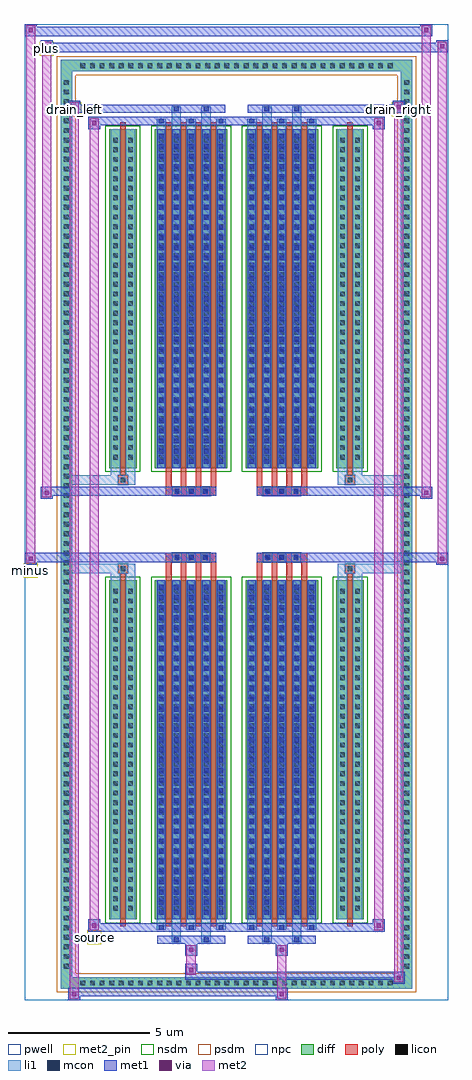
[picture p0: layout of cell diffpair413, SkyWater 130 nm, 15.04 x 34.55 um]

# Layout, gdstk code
import gdstk
lib = gdstk.Library(unit=1e-6, precision=5e-09)
def R(c, l, rs):  # rectangles x0, y0, x1, y1
    for r in rs: c.add(gdstk.rectangle(r[:2], r[2:], *l))
def A(c, l, x, y, w, h, nx, ny, dx, dy):  # array of equal rectangles
    R(c, l, [(x+i*dx, y+j*dy, x+i*dx+w, y+j*dy+h) for i in range(nx) for j in range(ny)])
def P(c, l, *ps):  # polygons
    for p in ps: c.add(gdstk.Polygon(p, *l))
pwell = (64, 44)
diff = (65, 20)
poly = (66, 20)
licon = (66, 44)
li1 = (67, 20)
mcon = (67, 44)
met1 = (68, 20)
via = (68, 44)
met2_pin = (69, 16)
met2 = (69, 20)
nsdm = (93, 44)
psdm = (94, 20)
npc = (95, 20)

diffpair413 = lib.new_cell('diffpair413')
R(diffpair413, pwell, [(-7.5,-16.84,7.5,17.71), (-4.82,-15.03,-0.01,-0.805), (0.01,-15.03,4.82,-0.805), (-4.82,0.805,-0.01,15.03), (0.01,0.805,4.82,15.03)])
A(diffpair413, diff, -5.645, -16.44, 0.41, 0.41, 33, 2, 0.34, 32.47)
A(diffpair413, diff, -6.23, -15.845, 0.41, 0.41, 1, 93, 0, 0.34)
A(diffpair413, diff, 5.82, -15.845, 0.41, 0.41, 1, 93, 0, 0.34)
R(diffpair413, diff, [(-5.645,-16.44,5.645,-16.03), (-6.23,-15.845,-5.82,15.845), (5.82,-15.845,6.23,15.845), (-4.51,-13.985,-3.53,-1.985), (-2.89,-13.985,-0.32,-1.985), (0.32,-13.985,2.89,-1.985), (3.53,-13.985,4.51,-1.985), (-4.51,1.985,-3.53,13.985), (-2.89,1.985,-0.32,13.985), (0.32,1.985,2.89,13.985), (3.53,1.985,4.51,13.985), (-5.645,16.03,5.645,16.44)])
P(diffpair413, diff, [(6.23,16.44),(-6.23,16.44),(-6.23,-16.03),(-5.82,-16.03),(-5.82,16.03),(5.82,16.03),(5.82,-16.03),(-5.82,-16.03),(-6.23,-16.03),(-6.23,-16.44),(6.23,-16.44)])
A(diffpair413, poly, -2.5, -14.235, 0.2, 12.5, 4, 2, 0.53, 15.97)
A(diffpair413, poly, 0.71, -14.235, 0.2, 12.5, 4, 2, 0.53, 15.97)
A(diffpair413, poly, -2.5, -1.735, 0.2, 0.4, 4, 2, 0.53, 3.07)
A(diffpair413, poly, 0.71, -1.735, 0.2, 0.4, 4, 2, 0.53, 3.07)
A(diffpair413, poly, -2.27, -1.335, 0.33, 0.33, 3, 2, 0.5, 2.34)
A(diffpair413, poly, 0.94, -1.335, 0.33, 0.33, 3, 2, 0.5, 2.34)
R(diffpair413, poly, [(-4.12,-14.235,-3.92,-1.735), (3.92,-14.235,4.12,-1.735), (-4.185,-1.735,-3.855,-1.405), (-4.185,-1.735,-3.855,-1.405), (3.855,-1.735,4.185,-1.405), (3.855,-1.735,4.185,-1.405), (-2.5,-1.335,-0.71,-1.005), (0.71,-1.335,2.5,-1.005), (-2.5,1.005,-0.71,1.335), (0.71,1.005,2.5,1.335), (-4.185,1.405,-3.855,1.735), (-4.185,1.405,-3.855,1.735), (3.855,1.405,4.185,1.735), (3.855,1.405,4.185,1.735), (-4.12,1.735,-3.92,14.235), (3.92,1.735,4.12,14.235)])
A(diffpair413, licon, -5.525, -16.32, 0.17, 0.17, 33, 2, 0.34, 32.47)
A(diffpair413, licon, -6.11, -15.725, 0.17, 0.17, 1, 93, 0, 0.34)
A(diffpair413, licon, 5.94, -15.725, 0.17, 0.17, 1, 93, 0, 0.34)
A(diffpair413, licon, -4.37, -13.68, 0.17, 0.17, 1, 34, 0, 0.34)
A(diffpair413, licon, -3.84, -13.68, 0.17, 0.17, 1, 34, 0, 0.34)
A(diffpair413, licon, -2.75, -13.68, 0.17, 0.17, 5, 34, 0.53, 0.34)
A(diffpair413, licon, 0.46, -13.68, 0.17, 0.17, 5, 34, 0.53, 0.34)
A(diffpair413, licon, 3.67, -13.68, 0.17, 0.17, 1, 34, 0, 0.34)
A(diffpair413, licon, 4.2, -13.68, 0.17, 0.17, 1, 34, 0, 0.34)
A(diffpair413, licon, -2.19, -1.255, 0.17, 0.17, 3, 2, 0.5, 2.34)
A(diffpair413, licon, 1.02, -1.255, 0.17, 0.17, 3, 2, 0.5, 2.34)
A(diffpair413, licon, -4.37, 2.29, 0.17, 0.17, 1, 34, 0, 0.34)
A(diffpair413, licon, -3.84, 2.29, 0.17, 0.17, 1, 34, 0, 0.34)
A(diffpair413, licon, -2.75, 2.29, 0.17, 0.17, 5, 34, 0.53, 0.34)
A(diffpair413, licon, 0.46, 2.29, 0.17, 0.17, 5, 34, 0.53, 0.34)
A(diffpair413, licon, 3.67, 2.29, 0.17, 0.17, 1, 34, 0, 0.34)
A(diffpair413, licon, 4.2, 2.29, 0.17, 0.17, 1, 34, 0, 0.34)
R(diffpair413, licon, [(-4.105,-1.655,-3.935,-1.485), (3.935,-1.655,4.105,-1.485), (-4.105,1.485,-3.935,1.655), (3.935,1.485,4.105,1.655)])
A(diffpair413, li1, -5.605, -16.4, 0.33, 0.33, 33, 2, 0.34, 32.47)
A(diffpair413, li1, -6.19, -15.805, 0.33, 0.33, 1, 93, 0, 0.34)
A(diffpair413, li1, 5.86, -15.805, 0.33, 0.33, 1, 93, 0, 0.34)
A(diffpair413, li1, -2.83, -14.36, 0.33, 0.375, 3, 2, 1.06, 28.345)
A(diffpair413, li1, -2.75, -14.36, 0.17, 0.17, 3, 2, 1.06, 28.55)
A(diffpair413, li1, 0.38, -14.36, 0.33, 0.375, 3, 2, 1.06, 28.345)
A(diffpair413, li1, 0.46, -14.36, 0.17, 0.17, 3, 2, 1.06, 28.55)
A(diffpair413, li1, -2.83, -13.985, 0.33, 12, 5, 2, 0.53, 15.97)
A(diffpair413, li1, 0.38, -13.985, 0.33, 12, 5, 2, 0.53, 15.97)
A(diffpair413, li1, -2.75, -13.83, 0.17, 0.17, 5, 33, 0.53, 0.36)
A(diffpair413, li1, -2.75, -13.83, 0.17, 11.69, 5, 2, 0.53, 15.97)
A(diffpair413, li1, 0.46, -13.83, 0.17, 0.17, 5, 33, 0.53, 0.36)
A(diffpair413, li1, 0.46, -13.83, 0.17, 11.69, 5, 2, 0.53, 15.97)
A(diffpair413, li1, -4.45, -13.76, 0.33, 0.33, 1, 34, 0, 0.34)
A(diffpair413, li1, -3.92, -13.76, 0.33, 0.33, 1, 34, 0, 0.34)
A(diffpair413, li1, -2.83, -13.76, 0.33, 0.33, 5, 34, 0.53, 0.34)
A(diffpair413, li1, 0.38, -13.76, 0.33, 0.33, 5, 34, 0.53, 0.34)
A(diffpair413, li1, 3.59, -13.76, 0.33, 0.33, 1, 34, 0, 0.34)
A(diffpair413, li1, 4.12, -13.76, 0.33, 0.33, 1, 34, 0, 0.34)
A(diffpair413, li1, -2.27, -1.335, 0.33, 0.33, 3, 2, 0.5, 2.34)
A(diffpair413, li1, 0.94, -1.335, 0.33, 0.33, 3, 2, 0.5, 2.34)
A(diffpair413, li1, -2.75, 2.14, 0.17, 0.17, 5, 33, 0.53, 0.36)
A(diffpair413, li1, 0.46, 2.14, 0.17, 0.17, 5, 33, 0.53, 0.36)
A(diffpair413, li1, -4.45, 2.21, 0.33, 0.33, 1, 34, 0, 0.34)
A(diffpair413, li1, -3.92, 2.21, 0.33, 0.33, 1, 34, 0, 0.34)
A(diffpair413, li1, -2.83, 2.21, 0.33, 0.33, 5, 34, 0.53, 0.34)
A(diffpair413, li1, 0.38, 2.21, 0.33, 0.33, 5, 34, 0.53, 0.34)
A(diffpair413, li1, 3.59, 2.21, 0.33, 0.33, 1, 34, 0, 0.34)
A(diffpair413, li1, 4.12, 2.21, 0.33, 0.33, 1, 34, 0, 0.34)
R(diffpair413, li1, [(-6.23,-16.44,-5.82,-16.03), (-6.23,-16.44,-5.82,-16.03), (-5.82,-16.44,5.82,-16.03), (5.82,-16.44,6.23,-16.03), (5.82,-16.44,6.23,-16.03), (-6.23,-16.03,-5.82,16.03), (5.82,-16.03,6.23,16.03), (-2.3,-14.79,-1.97,-13.985), (-2.22,-14.79,-2.05,-14.62), (-1.24,-14.79,-0.91,-13.985), (-1.16,-14.79,-0.99,-14.62), (0.91,-14.79,1.24,-13.985), (0.99,-14.79,1.16,-14.62), (1.97,-14.79,2.3,-13.985), (2.05,-14.79,2.22,-14.62), (-4.45,-13.985,-4.12,-1.985), (-3.92,-13.985,-3.59,-1.985), (3.59,-13.985,3.92,-1.985), (4.12,-13.985,4.45,-1.985), (-4.45,-1.985,-4.12,-1.405), (-3.92,-1.985,-3.59,-1.405), (3.59,-1.985,3.92,-1.405), (4.12,-1.985,4.45,-1.405), (-6.23,-1.735,-4.185,-1.405), (-4.45,-1.735,-4.185,-1.405), (-4.185,-1.735,-3.855,-1.405), (-3.855,-1.735,-3.59,-1.405), (3.59,-1.735,3.855,-1.405), (3.855,-1.735,4.185,-1.405), (3.855,-1.735,6.23,-1.405), (4.185,-1.735,4.45,-1.405), (-6.23,1.405,-4.185,1.735), (-4.45,1.405,-4.185,1.735), (-4.45,1.405,-4.12,1.985), (-4.185,1.405,-3.855,1.735), (-3.92,1.405,-3.59,1.985), (-3.855,1.405,-3.59,1.735), (3.59,1.405,3.855,1.735), (3.59,1.405,3.92,1.985), (3.855,1.405,4.185,1.735), (3.855,1.405,6.23,1.735), (4.12,1.405,4.45,1.985), (4.185,1.405,4.45,1.735), (-4.45,1.985,-4.12,13.985), (-3.92,1.985,-3.59,13.985), (3.59,1.985,3.92,13.985), (4.12,1.985,4.45,13.985), (-2.3,13.985,-1.97,14.79), (-1.24,13.985,-0.91,14.79), (0.91,13.985,1.24,14.79), (1.97,13.985,2.3,14.79), (-2.22,14.62,-2.05,14.79), (-1.16,14.62,-0.99,14.79), (0.99,14.62,1.16,14.79), (2.05,14.62,2.22,14.79), (-6.23,16.03,-5.82,16.44), (-6.23,16.03,-5.82,16.44), (-5.82,16.03,5.82,16.44), (5.82,16.03,6.23,16.44), (5.82,16.03,6.23,16.44)])
A(diffpair413, mcon, -2.75, -14.36, 0.17, 0.17, 3, 2, 1.06, 28.55)
A(diffpair413, mcon, 0.46, -14.36, 0.17, 0.17, 3, 2, 1.06, 28.55)
A(diffpair413, mcon, -2.75, -13.83, 0.17, 0.17, 5, 33, 0.53, 0.36)
A(diffpair413, mcon, 0.46, -13.83, 0.17, 0.17, 5, 33, 0.53, 0.36)
A(diffpair413, mcon, -2.19, -1.255, 0.17, 0.17, 3, 2, 0.5, 2.34)
A(diffpair413, mcon, 1.02, -1.255, 0.17, 0.17, 3, 2, 0.5, 2.34)
A(diffpair413, mcon, -2.75, 2.14, 0.17, 0.17, 5, 33, 0.53, 0.36)
A(diffpair413, mcon, 0.46, 2.14, 0.17, 0.17, 5, 33, 0.53, 0.36)
R(diffpair413, mcon, [(-2.22,-14.79,-2.05,-14.62), (-1.16,-14.79,-0.99,-14.62), (0.99,-14.79,1.16,-14.62), (2.05,-14.79,2.22,-14.62), (-2.22,14.62,-2.05,14.79), (-1.16,14.62,-0.99,14.79), (0.99,14.62,1.16,14.79), (2.05,14.62,2.22,14.79)])
A(diffpair413, met1, -2.81, -14.42, 0.29, 0.29, 3, 2, 1.06, 28.55)
A(diffpair413, met1, 0.4, -14.42, 0.29, 0.29, 3, 2, 1.06, 28.55)
A(diffpair413, met1, -2.81, -13.985, 0.29, 12, 5, 2, 0.53, 15.97)
A(diffpair413, met1, 0.4, -13.985, 0.29, 12, 5, 2, 0.53, 15.97)
A(diffpair413, met1, -2.81, -13.89, 0.29, 0.29, 5, 33, 0.53, 0.36)
A(diffpair413, met1, 0.4, -13.89, 0.29, 0.29, 5, 33, 0.53, 0.36)
A(diffpair413, met1, -2.25, -1.315, 0.29, 0.29, 3, 2, 0.5, 2.34)
A(diffpair413, met1, 0.96, -1.315, 0.29, 0.29, 3, 2, 0.5, 2.34)
A(diffpair413, met1, -2.81, 2.08, 0.29, 0.29, 5, 33, 0.53, 0.36)
A(diffpair413, met1, 0.4, 2.08, 0.29, 0.29, 5, 33, 0.53, 0.36)
R(diffpair413, met1, [(-5.96,-16.84,-5.53,-16.41), (1.39,-16.84,1.82,-16.41), (-5.96,-16.7,1.82,-16.41), (5.53,-16.27,5.96,-15.84), (-1.82,-16.13,5.96,-15.84), (-1.82,-15.99,-1.39,-15.56), (-1.82,-15.28,-1.39,-14.85), (1.39,-15.28,1.82,-14.85), (-2.81,-14.85,-0.4,-14.56), (-2.28,-14.85,-1.99,-14.56), (-1.22,-14.85,-0.93,-14.56), (0.4,-14.85,2.81,-14.56), (0.93,-14.85,1.22,-14.56), (1.99,-14.85,2.28,-14.56), (-5.25,-14.42,-4.82,-13.99), (-5.25,-14.42,-2.81,-14.13), (-2.81,-14.42,-0.4,-14.13), (-0.4,-14.42,0.4,-14.13), (0.4,-14.42,2.81,-14.13), (2.81,-14.42,5.25,-14.13), (4.82,-14.42,5.25,-13.99), (-7.5,-1.435,-7.07,-1.005), (7.07,-1.435,7.5,-1.005), (-7.5,-1.335,-0.71,-1.005), (-2.5,-1.335,-0.71,-1.005), (0.71,-1.335,2.5,-1.005), (0.71,-1.335,7.5,-1.005), (-6.93,0.905,-6.5,1.335), (6.5,0.905,6.93,1.335), (-6.93,1.005,-2.5,1.335), (-2.5,1.005,-0.71,1.335), (0.71,1.005,2.5,1.335), (2.5,1.005,6.93,1.335), (-5.25,13.99,-4.82,14.42), (4.82,13.99,5.25,14.42), (-5.25,14.13,-2.81,14.42), (-2.81,14.13,-0.4,14.42), (-0.4,14.13,0.4,14.42), (0.4,14.13,2.81,14.42), (2.81,14.13,5.25,14.42), (-5.96,14.56,-5.53,14.99), (-5.96,14.56,-2.81,14.85), (-2.81,14.56,-0.4,14.85), (-2.28,14.56,-1.99,14.85), (-1.22,14.56,-0.93,14.85), (0.4,14.56,2.81,14.85), (0.93,14.56,1.22,14.85), (1.99,14.56,2.28,14.85), (2.81,14.56,5.96,14.85), (5.53,14.56,5.96,14.99), (-6.93,16.71,-6.5,17.14), (-6.93,16.71,-4.82,17.04), (-4.82,16.71,4.82,17.04), (4.82,16.71,7.5,17.04), (7.07,16.71,7.5,17.14), (-7.5,17.28,-7.07,17.71), (-7.5,17.28,-4.82,17.61), (-4.82,17.28,4.82,17.61), (4.82,17.28,6.93,17.61), (6.5,17.28,6.93,17.71)])
R(diffpair413, via, [(-5.82,-16.7,-5.67,-16.55), (1.53,-16.7,1.68,-16.55), (5.67,-16.13,5.82,-15.98), (-1.68,-15.85,-1.53,-15.7), (-1.68,-15.14,-1.53,-14.99), (1.53,-15.14,1.68,-14.99), (-5.11,-14.28,-4.96,-14.13), (4.96,-14.28,5.11,-14.13), (-7.36,-1.295,-7.21,-1.145), (7.21,-1.295,7.36,-1.145), (-6.79,1.045,-6.64,1.195), (6.64,1.045,6.79,1.195), (-5.11,14.13,-4.96,14.28), (4.96,14.13,5.11,14.28), (-5.82,14.7,-5.67,14.85), (5.67,14.7,5.82,14.85), (-6.79,16.85,-6.64,17), (7.21,16.85,7.36,17), (-7.36,17.42,-7.21,17.57), (6.64,17.42,6.79,17.57)])
R(diffpair413, met2_pin, [(-5.285,-14.87,-4.785,-14.37), (-7.535,-1.885,-7.035,-1.385), (-5.995,14.44,-5.495,14.94), (5.495,14.44,5.995,14.94), (-6.965,16.59,-6.465,17.09)])
R(diffpair413, met2, [(-5.91,-16.79,-5.58,-16.46), (-5.91,-16.79,-5.58,14.94), (1.44,-16.79,1.77,-16.46), (1.44,-16.46,1.77,-15.23), (5.58,-16.22,5.91,-15.89), (5.58,-16.22,5.91,14.94), (-1.77,-15.94,-1.44,-15.61), (-1.77,-15.61,-1.44,-15.23), (-1.77,-15.23,-1.44,-14.9), (1.44,-15.23,1.77,-14.9), (-5.2,-14.37,-4.87,-14.04), (-5.2,-14.37,-4.87,14.37), (4.87,-14.37,5.2,-14.04), (4.87,-14.37,5.2,14.37), (-7.45,-1.385,-7.12,-1.055), (-7.45,-1.385,-7.12,17.66), (7.12,-1.385,7.45,-1.055), (7.12,-1.385,7.45,17.09), (-6.88,0.955,-6.55,1.285), (-6.88,0.955,-6.55,17.09), (6.55,0.955,6.88,1.285), (6.55,0.955,6.88,17.66), (-5.2,14.04,-4.87,14.37), (4.87,14.04,5.2,14.37), (-5.91,14.61,-5.58,14.94), (5.58,14.61,5.91,14.94), (-6.88,16.76,-6.55,17.09), (7.12,16.76,7.45,17.09), (-7.45,17.33,-7.12,17.66), (6.55,17.33,6.88,17.66)])
P(diffpair413, met2, [(7.45,-1.385),(7.45,-1.385),(7.45,-1.055),(7.45,-1.055)],
  [(7.45,16.76),(7.45,16.76),(7.45,17.09),(7.45,17.09)],
  [(-7.12,-1.385),(-7.12,-1.385),(-7.12,-1.055),(-7.12,-1.055)],
  [(-7.12,17.33),(-7.12,17.33),(-7.12,17.66),(-7.12,17.66)],
  [(6.88,0.955),(6.88,0.955),(6.88,1.285),(6.88,1.285)],
  [(6.88,17.33),(6.88,17.33),(6.88,17.66),(6.88,17.66)],
  [(-6.55,0.955),(-6.55,0.955),(-6.55,1.285),(-6.55,1.285)],
  [(-6.55,16.76),(-6.55,16.76),(-6.55,17.09),(-6.55,17.09)],
  [(-5.58,-16.79),(-5.58,-16.79),(-5.58,-16.46),(-5.58,-16.46)],
  [(-5.58,14.61),(-5.58,14.61),(-5.58,14.94),(-5.58,14.94)],
  [(5.91,-16.22),(5.91,-16.22),(5.91,-15.89),(5.91,-15.89)],
  [(5.91,14.61),(5.91,14.61),(5.91,14.94),(5.91,14.94)],
  [(-4.87,-14.37),(-4.87,-14.37),(-4.87,-14.04),(-4.87,-14.04)],
  [(-4.87,14.04),(-4.87,14.04),(-4.87,14.37),(-4.87,14.37)],
  [(5.2,-14.37),(5.2,-14.37),(5.2,-14.04),(5.2,-14.04)],
  [(5.2,14.04),(5.2,14.04),(5.2,14.37),(5.2,14.37)])
R(diffpair413, nsdm, [(-4.64,-14.115,-3.4,-1.855), (-3.02,-14.115,-0.19,-1.855), (0.19,-14.115,3.02,-1.855), (3.4,-14.115,4.64,-1.855), (-4.64,1.855,-3.4,14.115), (-3.02,1.855,-0.19,14.115), (0.19,1.855,3.02,14.115), (3.4,1.855,4.64,14.115)])
P(diffpair413, psdm, [(6.36,16.57),(-6.36,16.57),(-6.36,-15.9),(-5.69,-15.9),(-5.69,15.9),(5.69,15.9),(5.69,-15.9),(-5.69,-15.9),(-6.36,-15.9),(-6.36,-16.57),(6.36,-16.57)])
A(diffpair413, npc, -2.29, -1.355, 0.37, 0.37, 3, 2, 0.5, 2.34)
A(diffpair413, npc, 0.92, -1.355, 0.37, 0.37, 3, 2, 0.5, 2.34)
R(diffpair413, npc, [(-4.205,-1.755,-3.835,-1.385), (3.835,-1.755,4.205,-1.385), (-2.29,-1.355,-1.42,-0.985), (-2.29,-1.355,-1.42,-0.985), (-1.79,-1.355,-0.92,-0.985), (-1.79,-1.355,-0.92,-0.985), (0.92,-1.355,1.79,-0.985), (0.92,-1.355,1.79,-0.985), (1.42,-1.355,2.29,-0.985), (1.42,-1.355,2.29,-0.985), (-2.29,0.985,-1.42,1.355), (-2.29,0.985,-1.42,1.355), (-1.79,0.985,-0.92,1.355), (-1.79,0.985,-0.92,1.355), (0.92,0.985,1.79,1.355), (0.92,0.985,1.79,1.355), (1.42,0.985,2.29,1.355), (1.42,0.985,2.29,1.355), (-4.205,1.385,-3.835,1.755), (3.835,1.385,4.205,1.755)])
diffpair413.add(gdstk.Label('minus', (-7.285,-1.635), layer=69, texttype=5))
diffpair413.add(gdstk.Label('drain_right', (5.745,14.69), layer=69, texttype=5))
diffpair413.add(gdstk.Label('drain_left', (-5.745,14.69), layer=69, texttype=5))
diffpair413.add(gdstk.Label('source', (-5.035,-14.62), layer=69, texttype=5))
diffpair413.add(gdstk.Label('plus', (-6.715,16.84), layer=69, texttype=5))

lib.write_gds('diffpair413.gds')
